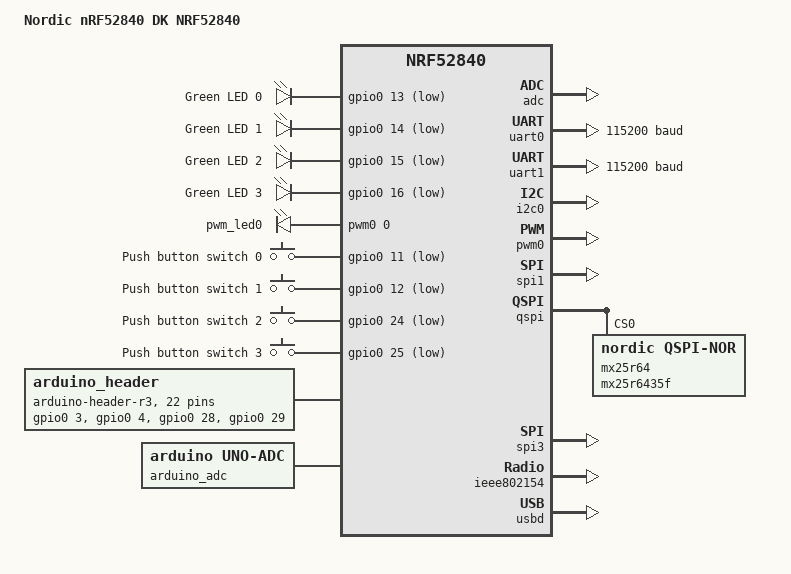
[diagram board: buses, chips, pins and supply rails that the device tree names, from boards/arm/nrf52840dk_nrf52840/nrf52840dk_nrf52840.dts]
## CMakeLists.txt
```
cmake_minimum_required(VERSION 3.20.0)

# Handle custom boilerplate, if defined
if(DEFINED CUSTOM_BOILERPLATE)
    include(${CUSTOM_BOILERPLATE})
    return()
endif()

set(COMMON_PATH "C:/ncs/v2.4.2/modules/hal/nordic/nrfx/samples/common")
include(${COMMON_PATH}/common.cmake)

GET_DEVICE_CONFIG_FILES(${BOARD} boards)

find_package(Zephyr REQUIRED HINTS $ENV{ZEPHYR_BASE})
project(nrfx_example)

target_sources(app PRIVATE  src/main.c 
                            src/Json/cJSON.c
                            src/Json/Jsonhandler.c
                            src/BLE/BleHandler.c
                            src/BLE/BleService.c "C:/ncs/v2.4.2/modules/hal/nordic/nrfx/samples/src/nrfx_saadc/common/saadc_examples_common.c")
target_include_directories(app PRIVATE src/Json
                                        src/BLE
                                        ${COMMON_PATH} "C:/ncs/v2.4.2/modules/hal/nordic/nrfx/samples/src/nrfx_saadc/common")
```

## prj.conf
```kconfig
CONFIG_ADC=y
CONFIG_ADC_ASYNC=y
CONFIG_GPIO=y
CONFIG_STDOUT_CONSOLE=y
CONFIG_PRINTK=y
CONFIG_PWM=y
CONFIG_LOG_PRINTK=y
CONFIG_LOG_MODE_IMMEDIATE=y
CONFIG_PWM_LOG_LEVEL_DBG=y
CONFIG_NEWLIB_LIBC=y
CONFIG_ADC_NRFX_SAADC=y
CONFIG_NRFX_SAADC=y
CONFIG_LOG=y
CONFIG_PM=y
CONFIG_PM_DEVICE=y
#CONFIG_TRACING_SYSCALL=y


CONFIG_BT=y
CONFIG_BT_PERIPHERAL=y
CONFIG_BT_DEVICE_NAME="VISENSE_IRMTR"
CONFIG_BT_CTLR_ADV_EXT=y
CONFIG_BT_EXT_ADV=y
CONFIG_BT_CTLR_ADV_DATA_LEN_MAX=225

CONFIG_BT_USER_DATA_LEN_UPDATE=y
CONFIG_BT_USER_PHY_UPDATE=y
CONFIG_BT_GAP_AUTO_UPDATE_CONN_PARAMS=n
CONFIG_HEAP_MEM_POOL_SIZE=4096
CONFIG_BT_BUF_ACL_RX_SIZE=251
CONFIG_BT_ATT_PREPARE_COUNT=2
CONFIG_BT_L2CAP_TX_MTU=247

CONFIG_BT_BUF_ACL_TX_COUNT=10
CONFIG_BT_BUF_ACL_TX_SIZE=251
CONFIG_BT_AUTO_PHY_UPDATE=y
CONFIG_BT_CTLR_DATA_LENGTH_MAX=251

CONFIG_LOG_DEFAULT_LEVEL=3
```

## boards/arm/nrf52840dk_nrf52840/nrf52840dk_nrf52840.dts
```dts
/*
 * Copyright (c) 2017 Linaro Limited
 *
 * SPDX-License-Identifier: Apache-2.0
 */

/dts-v1/;
#include <nordic/nrf52840_qiaa.dtsi>
#include "nrf52840dk_nrf52840-pinctrl.dtsi"

/ {
	model = "Nordic nRF52840 DK NRF52840";
	compatible = "nordic,nrf52840-dk-nrf52840";

	chosen {
		zephyr,console = &uart0;
		zephyr,shell-uart = &uart0;
		zephyr,uart-mcumgr = &uart0;
		zephyr,bt-mon-uart = &uart0;
		zephyr,bt-c2h-uart = &uart0;
		zephyr,sram = &sram0;
		zephyr,flash = &flash0;
		zephyr,code-partition = &slot0_partition;
		zephyr,ieee802154 = &ieee802154;
	};

	leds {
		compatible = "gpio-leds";
		led0: led_0 {
			gpios = <&gpio0 13 GPIO_ACTIVE_LOW>;
			label = "Green LED 0";
		};
		led1: led_1 {
			gpios = <&gpio0 14 GPIO_ACTIVE_LOW>;
			label = "Green LED 1";
		};
		led2: led_2 {
			gpios = <&gpio0 15 GPIO_ACTIVE_LOW>;
			label = "Green LED 2";
		};
		led3: led_3 {
			gpios = <&gpio0 16 GPIO_ACTIVE_LOW>;
			label = "Green LED 3";
		};
	};
	
	powerpins {
		testpin0: testpin_0 {
			compatible = "eac,testpin";
			gpios = <&gpio0 27 GPIO_ACTIVE_LOW>;
			status = "okay";
		};
		testpin1: testpin_1 {
			compatible = "eac,testpin";
			gpios = <&gpio0 26 GPIO_ACTIVE_LOW>;
			status = "okay";
		};
	};
	
	pwmleds {
		compatible = "pwm-leds";
		pwm_led0: pwm_led_0 {
			pwms = <&pwm0 0 PWM_MSEC(20) PWM_POLARITY_INVERTED>;
		};
	};

	buttons {
		compatible = "gpio-keys";
		button0: button_0 {
			gpios = <&gpio0 11 (GPIO_PULL_UP | GPIO_ACTIVE_LOW)>;
			label = "Push button switch 0";
		};
		button1: button_1 {
			gpios = <&gpio0 12 (GPIO_PULL_UP | GPIO_ACTIVE_LOW)>;
			label = "Push button switch 1";
		};
		button2: button_2 {
			gpios = <&gpio0 24 (GPIO_PULL_UP | GPIO_ACTIVE_LOW)>;
			label = "Push button switch 2";
		};
		button3: button_3 {
			gpios = <&gpio0 25 (GPIO_PULL_UP | GPIO_ACTIVE_LOW)>;
			label = "Push button switch 3";
		};
	};

	arduino_header: connector {
		compatible = "arduino-header-r3";
		#gpio-cells = <2>;
		gpio-map-mask = <0xffffffff 0xffffffc0>;
		gpio-map-pass-thru = <0 0x3f>;
		gpio-map = <0 0 &gpio0 3 0>,	/* A0 */
			   <1 0 &gpio0 4 0>,	/* A1 */
			   <2 0 &gpio0 28 0>,	/* A2 */
			   <3 0 &gpio0 29 0>,	/* A3 */
			   <4 0 &gpio0 30 0>,	/* A4 */
			   <5 0 &gpio0 31 0>,	/* A5 */
			   <6 0 &gpio1 1 0>,	/* D0 */
			   <7 0 &gpio1 2 0>,	/* D1 */
			   <8 0 &gpio1 3 0>,	/* D2 */
			   <9 0 &gpio1 4 0>,	/* D3 */
			   <10 0 &gpio1 5 0>,	/* D4 */
			   <11 0 &gpio1 6 0>,	/* D5 */
			   <12 0 &gpio1 7 0>,	/* D6 */
			   <13 0 &gpio1 8 0>,	/* D7 */
			   <14 0 &gpio1 10 0>,	/* D8 */
			   <15 0 &gpio1 11 0>,	/* D9 */
			   <16 0 &gpio1 12 0>,	/* D10 */
			   <17 0 &gpio1 13 0>,	/* D11 */
			   <18 0 &gpio1 14 0>,	/* D12 */
			   <19 0 &gpio1 15 0>,	/* D13 */
			   <20 0 &gpio0 26 0>,	/* D14 */
			   <21 0 &gpio0 27 0>;	/* D15 */
	};

	arduino_adc: analog-connector {
		compatible = "arduino,uno-adc";
		#io-channel-cells = <1>;
		io-channel-map = <0 &adc 1>;	/* A0 = P0.3 = AIN1 */
	};

	/* These aliases are provided for compatibility with samples */
	aliases {
		led0 = &led0;
		led1 = &led1;
		led2 = &led2;
		led3 = &led3;
		pwm-led0 = &pwm_led0;
		testpin0 = &testpin0;
		testpin1 = &testpin1;
		sw0 = &button0;
		sw1 = &button1;
		sw2 = &button2;
		sw3 = &button3;
		bootloader-led0 = &led0;
		mcuboot-button0 = &button0;
		mcuboot-led0 = &led0;
		watchdog0 = &wdt0;
		spi-flash0 = &mx25r64;
	};
};

&adc {
	status = "okay";
};

&gpiote {
	status = "okay";
};

&gpio0 {
	status = "okay";
};

&gpio1 {
	status = "okay";
};

&uart0 {
	compatible = "nordic,nrf-uarte";
	status = "okay";
	current-speed = <115200>;
	pinctrl-0 = <&uart0_default>;
	pinctrl-1 = <&uart0_sleep>;
	pinctrl-names = "default", "sleep";
};

arduino_serial: &uart1 {
	current-speed = <115200>;
	pinctrl-0 = <&uart1_default>;
	pinctrl-1 = <&uart1_sleep>;
	pinctrl-names = "default", "sleep";
};

arduino_i2c: &i2c0 {
	compatible = "nordic,nrf-twi";
	status = "okay";
	pinctrl-0 = <&i2c0_default>;
	pinctrl-1 = <&i2c0_sleep>;
	pinctrl-names = "default", "sleep";
};

&i2c1 {
	compatible = "nordic,nrf-twi";
	/* Cannot be used together with spi1. */
	/* status = "okay"; */
	pinctrl-0 = <&i2c1_default>;
	pinctrl-1 = <&i2c1_sleep>;
	pinctrl-names = "default", "sleep";
};

&pwm0 {
	status = "okay";
	pinctrl-0 = <&pwm0_default>;
	pinctrl-1 = <&pwm0_sleep>;
	pinctrl-names = "default", "sleep";
};

&spi0 {
	compatible = "nordic,nrf-spi";
	/* Cannot be used together with i2c0. */
	/* status = "okay"; */
	pinctrl-0 = <&spi0_default>;
	pinctrl-1 = <&spi0_sleep>;
	pinctrl-names = "default", "sleep";
};

&spi1 {
	compatible = "nordic,nrf-spi";
	status = "okay";
	pinctrl-0 = <&spi1_default>;
	pinctrl-1 = <&spi1_sleep>;
	pinctrl-names = "default", "sleep";
};

&spi2 {
	compatible = "nordic,nrf-spi";
	status = "disabled";
	pinctrl-0 = <&spi2_default>;
	pinctrl-1 = <&spi2_sleep>;
	pinctrl-names = "default", "sleep";
};

&qspi {
	status = "okay";
	pinctrl-0 = <&qspi_default>;
	pinctrl-1 = <&qspi_sleep>;
	pinctrl-names = "default", "sleep";
	mx25r64: mx25r6435f@0 {
		compatible = "nordic,qspi-nor";
		reg = <0>;
		/* MX25R64 supports only pp and pp4io */
		writeoc = "pp4io";
		/* MX25R64 supports all readoc options */
		readoc = "read4io";
		sck-frequency = <8000000>;
		jedec-id = [c2 28 17];
		sfdp-bfp = [
			e5 20 f1 ff  ff ff ff 03  44 eb 08 6b  08 3b 04 bb
			ee ff ff ff  ff ff 00 ff  ff ff 00 ff  0c 20 0f 52
			10 d8 00 ff  23 72 f5 00  82 ed 04 cc  44 83 68 44
			30 b0 30 b0  f7 c4 d5 5c  00 be 29 ff  f0 d0 ff ff
		];
		size = <67108864>;
		has-dpd;
		t-enter-dpd = <10000>;
		t-exit-dpd = <35000>;
	};
};

arduino_spi: &spi3 {
	status = "okay";
	cs-gpios = <&arduino_header 16 GPIO_ACTIVE_LOW>; /* D10 */
	pinctrl-0 = <&spi3_default>;
	pinctrl-1 = <&spi3_sleep>;
	pinctrl-names = "default", "sleep";
};

&ieee802154 {
	status = "okay";
};

&flash0 {

	partitions {
		compatible = "fixed-partitions";
		#address-cells = <1>;
		#size-cells = <1>;

		boot_partition: partition@0 {
			label = "mcuboot";
			reg = <0x00000000 0x0000C000>;
		};
		slot0_partition: partition@c000 {
			label = "image-0";
			reg = <0x0000C000 0x00076000>;
		};
		slot1_partition: partition@82000 {
			label = "image-1";
			reg = <0x00082000 0x00076000>;
		};

		/*
		 * The flash starting at 0x000f8000 and ending at
		 * 0x000fffff is reserved for use by the application.
		 */

		/*
		 * Storage partition will be used by FCB/LittleFS/NVS
		 * if enabled.
		 */
		storage_partition: partition@f8000 {
			label = "storage";
			reg = <0x000f8000 0x00008000>;
		};
	};
};

zephyr_udc0: &usbd {
	compatible = "nordic,nrf-usbd";
	status = "okay";
};
```

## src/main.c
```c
/**
 * @file main.c
 * @brief Main function
 * @date 2023-09-27
 * @author Jeslin
 * @note  This is a test code for Irrometer.
*/


/*******************************INCLUDES****************************************/
#include <zephyr/device.h>
#include <zephyr/pm/pm.h>
#include <zephyr/pm/device.h>
#include <zephyr/devicetree.h>
#include <zephyr/drivers/gpio.h>
#include <zephyr/kernel.h>
#include <zephyr/sys/printk.h>
#include <zephyr/sys/util.h>
#include <nrfx_example.h>
#include <saadc_examples_common.h>
#include <nrfx_saadc.h>
#include <nrfx_log.h>
#include <stdlib.h>
#include <stdio.h>
#include <zephyr/bluetooth/bluetooth.h>
#include <zephyr/bluetooth/hci.h>
#include <zephyr/bluetooth/conn.h>
#include <zephyr/bluetooth/uuid.h>
#include <zephyr/bluetooth/gatt.h>
#include "Json/cJSON.h"
#include "BleHandler.h"
#include "BleService.h"
#include "JsonHandler.h"

/*******************************MACROS****************************************/
//#define SLEEP_ENABLE  //Uncomment this line to enable sleep functionality
/*******************************GLOBAL VARIABLES********************************/
nrf_saadc_value_t  sAdcReadValue1 = 0;
nrf_saadc_value_t  sAdcReadValue2 = 0;
const int Rx = 10000;
const float default_TempC = 24.0;
const long open_resistance = 35000;
const long short_resistance = 200;
const long short_CB = 240, open_CB = 255;
const float SupplyV = 3.3;


cJSON *pcData = NULL;
const struct device *pAdc = NULL;

const struct gpio_dt_spec sSensorPwSpec1 = GPIO_DT_SPEC_GET(DT_ALIAS(testpin0), gpios);
const struct gpio_dt_spec sSensorPwSpec2 = GPIO_DT_SPEC_GET(DT_ALIAS(testpin1), gpios);
const struct gpio_dt_spec sSleepStatusLED = GPIO_DT_SPEC_GET(DT_ALIAS(led0), gpios);



/*******************************FUNCTION DEFINITIONS********************************/

/**
 * @brief  This function is to read raw adc value
 * @param  None 
 * @return float - ADC result
*/
float AnalogRead(void)
{

    nrfx_err_t status;
    nrf_saadc_value_t sample_value;

    status = nrfx_saadc_buffer_set(&sample_value, 1);
    NRFX_ASSERT(status == NRFX_SUCCESS);
    
    status = nrfx_saadc_mode_trigger();
    NRFX_ASSERT(status == NRFX_SUCCESS);
    return sample_value;
}

int GetAdcResult( const struct gpio_dt_spec *excite_pin_spec)
{
    int16_t AdcReadValue ;
    if (!device_is_ready(excite_pin_spec->port)) {
        printk("Error: %s device not ready\n", excite_pin_spec->port->name);
        return -1;
    }
    gpio_pin_set(excite_pin_spec->port, excite_pin_spec->pin, 1);
    k_sleep(K_USEC(90)); 

    AdcReadValue = AnalogRead();

    gpio_pin_set(excite_pin_spec->port, excite_pin_spec->pin, 0);
    k_sleep(K_MSEC(100)); 

    
    return AdcReadValue;
}

int myCBvalue(int res, float TC, float cF)
{  

	int WM_CB;
	float resK = res / 1000.0;
	float tempD = 1.00 + 0.018 * (TC - 24.00);

	if (res > 550.00)
    { 
		if (res > 8000.00)
        { 
			WM_CB = (-2.246 - 5.239 * resK * (1 + .018 * (TC - 24.00)) - .06756 * resK * resK * (tempD * tempD)) * cF;
		}
        else if (res > 1000.00)
        {
			WM_CB = (-3.213 * resK - 4.093) / (1 - 0.009733 * resK - 0.01205 * (TC)) * cF ;
		}
        else
        {
			WM_CB = (resK * 23.156 - 12.736) * tempD;
		}
	} 
    else
    {
		if (res > 300.00)
        {
			WM_CB = 0.00;
		}
		if (res < 300.00 && res >= short_resistance)
        {
			WM_CB = short_CB;
			printk("Sensor Short WM \n");
		}
	}
	if (res >= open_resistance || res==0)
    {
		WM_CB = open_CB;
	}
	
	return WM_CB;
}
float readWMsensor(void)
{
    float SenVWM1 = (sAdcReadValue1 / 1024.0) * SupplyV;
    float SenVWM2 = (sAdcReadValue2 / 1024.0) * SupplyV;

    printk("Sensor Voltage A: %.3f V\n", SenVWM1);
    printk("Sensor Voltage B: %.3f V\n", SenVWM2);

    double WM_ResistanceA = (Rx * (SupplyV - SenVWM1) / SenVWM1);
    double WM_ResistanceB = (Rx * SenVWM2) / (SupplyV - SenVWM2);

    return (WM_ResistanceA + WM_ResistanceB) / 2.0;
}

void saadc_callback(nrfx_saadc_evt_t const * p_event) {
    // Handle SAADC events here if needed.
}
/**
 * @brief function to initialize adc
 * @return void
*/
static void InitAdc(void)
{
    nrfx_err_t status;
    status = nrfx_saadc_init(NRFX_SAADC_DEFAULT_CONFIG_IRQ_PRIORITY);
    NRFX_ASSERT(status == NRFX_SUCCESS);

    nrfx_saadc_channel_t saadc_channel = {
        .channel_config = {
            .resistor_p        = NRF_SAADC_RESISTOR_DISABLED,
            .resistor_n        = NRF_SAADC_RESISTOR_DISABLED,
            .gain              = NRF_SAADC_GAIN1_4,
            .reference         = NRF_SAADC_REFERENCE_VDD4,
            .acq_time          = NRF_SAADC_ACQTIME_10US,
            .mode              = NRF_SAADC_MODE_SINGLE_ENDED,
            .burst             = NRF_SAADC_BURST_DISABLED,
        },
        .pin_p             = NRF_SAADC_INPUT_AIN1,
        .pin_n             = NRF_SAADC_INPUT_DISABLED,
        .channel_index     = 1
    };

    status = nrfx_saadc_channel_config(&saadc_channel);
    NRFX_ASSERT(status == NRFX_SUCCESS);
    
    uint32_t channels_mask = nrfx_saadc_channels_configured_get();
    status = nrfx_saadc_simple_mode_set(channels_mask,
                                        NRF_SAADC_RESOLUTION_10BIT,
                                        NRF_SAADC_OVERSAMPLE_DISABLED,
                                        NULL);
    NRFX_ASSERT(status == NRFX_SUCCESS);


    gpio_pin_configure_dt(&sSensorPwSpec1, GPIO_OUTPUT_LOW);
    gpio_pin_configure_dt(&sSensorPwSpec2, GPIO_OUTPUT_LOW);
    k_sleep(K_MSEC(100)); 

}
/**
 * @brief function to add json object to json
 * @param pcJsonHandle - Json object handle
 * @param pcKey - Key name
 * @param pcValue - value
 * @param ucLen - value length
 * @return true or false
*/

static bool SetPMState()
{
    bool bRetVal = false;

    struct pm_state_info info =
    {
        .exit_latency_us  = 0,
        .min_residency_us = 0,
        .state            = PM_STATE_SUSPEND_TO_RAM,
        .substate_id      = 0,
    };

    bRetVal = pm_state_force(0, &info);
    return bRetVal;
}
static void EnterSleepMode(int nDuration)
{
    pm_device_action_run(pAdc, PM_DEVICE_ACTION_SUSPEND);
    pm_device_action_run(&sSensorPwSpec1, PM_DEVICE_ACTION_SUSPEND);
    pm_device_action_run(&sSensorPwSpec2, PM_DEVICE_ACTION_SUSPEND);
    BleStopAdv();
    gpio_pin_set(sSleepStatusLED.port, sSleepStatusLED.pin, 1);
    k_sleep(K_SECONDS(nDuration));
}

/**
 * @brief function for exiting sleep mode
 * @return none
*/
static void ExitSleepMode()
{
    pm_device_action_run(pAdc, PM_DEVICE_ACTION_RESUME);
    pm_device_action_run(&sSensorPwSpec1, PM_DEVICE_ACTION_RESUME);
    pm_device_action_run(&sSensorPwSpec2, PM_DEVICE_ACTION_RESUME);
    gpio_pin_set(sSleepStatusLED.port, sSleepStatusLED.pin, 0);
}


int main(void)
{
    nrfx_err_t status;
    int Ret;
    char cbuffer[60] = {0};
    char cJsonBuffer[100] = {0};
    cJSON *pMainObject = NULL;
    const float cFactor = 1.1;
    uint8_t *pucAdvBuffer = NULL;

    InitAdc();

    pucAdvBuffer = GetAdvBuffer();
    Ret = bt_enable(NULL);
	if (Ret) 
    {
		printk("Bluetooth init failed (err %d)\n", Ret);
		return 0;
	}
    Ret = InitExtAdv();
	if (Ret) 
    {
		printk("Advertising failed to create (err %d)\n", Ret);
		return 0;
	}
    Ret = StartAdv();
    if(Ret)
    {
        printk("Advertising failed to start (err %d)\n", Ret);
        return 0;
    }
    
     while (1) 
     {
        pMainObject = cJSON_CreateObject();
        sAdcReadValue1 = GetAdcResult(&sSensorPwSpec1);
        printk("Reading A1: %d\n", sAdcReadValue1);
        sAdcReadValue2 = GetAdcResult(&sSensorPwSpec2);
        printk("Reading A2: %d\n", sAdcReadValue2);
        
        float WM_Resistance = readWMsensor();
        printk("WM Resistance(Ohms): %d\n", (int)WM_Resistance);
        int WM1_CB = myCBvalue((int)WM_Resistance, default_TempC, cFactor);
        printk("WM1(cb/kPa): %d\n", abs(WM1_CB));

        sprintf(cbuffer,"CB=%d", abs(WM1_CB));
        printk("Data:%s\n", cbuffer);
        
        
        // AddItemtoJsonObject(&pMainObject, "data", (uint8_t*)cbuffer, (uint8_t)strlen(cbuffer));
        AddItemtoJsonObject(&pMainObject, NUMBER, "ADCValue1", &sAdcReadValue1, sizeof(uint16_t));
        AddItemtoJsonObject(&pMainObject, NUMBER, "ADCValue2", &sAdcReadValue2, sizeof(uint16_t));
        AddItemtoJsonObject(&pMainObject, STRING, "CBValue", (uint8_t*)cbuffer, (uint8_t)strlen(cbuffer));
        strcpy(cJsonBuffer, (char *)cJSON_Print(pMainObject));
        
        memset(cbuffer,0 , sizeof(cbuffer));
        pucAdvBuffer[2] = 0x02;
        pucAdvBuffer[3] = (uint8_t)strlen(cJsonBuffer);
        memcpy(pucAdvBuffer+4, cJsonBuffer, strlen(cJsonBuffer));

        printk("JSON:\n%s\n", cJsonBuffer);
        cJSON_Delete(pcData);
        cJSON_Delete(pMainObject);

        if(IsNotificationenabled())
        {
            VisenseSensordataNotify(pucAdvBuffer+2, ADV_BUFF_SIZE);
        }
        else
        {
            UpdateAdvData();
            StartAdv();
        }
        
        memset(pucAdvBuffer, 0, ADV_BUFF_SIZE);

        k_sleep(K_MSEC(1000));
        #ifdef SLEEP_ENABLE
         EnterSleepMode(60);
         ExitSleepMode();
        #endif
     }
}
    
```
